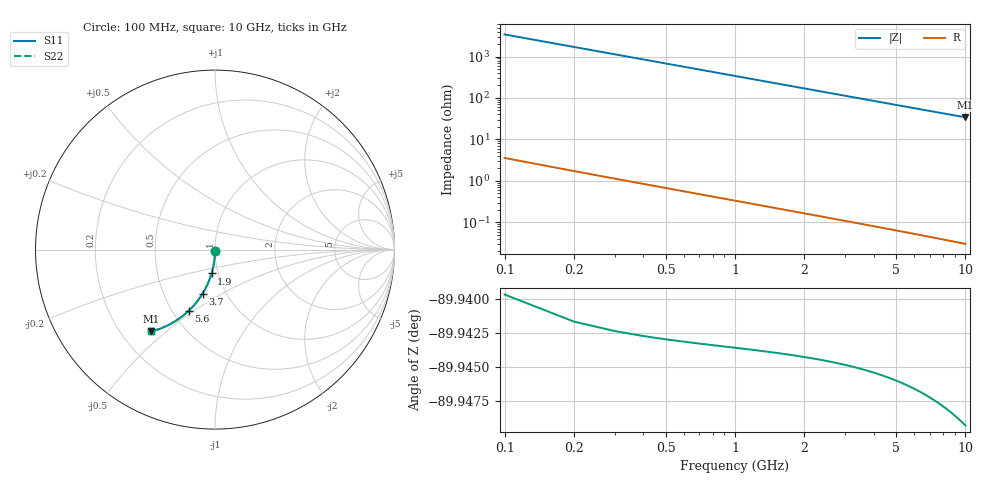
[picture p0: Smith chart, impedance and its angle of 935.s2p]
# Hz S RI R 50.00
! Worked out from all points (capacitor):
!   100 points, 100 MHz to 10 GHz, reference 50 ohm
!   read as one part in shunt: C = 468 fF near 100 MHz
!   lowest |Z| = 34.2 ohm at 10 GHz (marker M1)
!   S11 on the Smith chart (normalised r, x): 100 MHz: 1.00, -0.01; 1.9 GHz: 0.93, -0.25; 3.7 GHz: 0.78, -0.41; 5.6 GHz: 0.60, -0.48; 10 GHz: 0.33, -0.45
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1e8  9.43e-05 -0.00713  0.9998 -0.00758  0.9998 -0.00758  9.43e-05 -0.00713
2e8  -7.4e-05 -0.0143  0.9996 -0.0152  0.9996 -0.0152  -7.4e-05 -0.0143
3e8  -0.000351 -0.0214  0.9993 -0.0227  0.9993 -0.0227  -0.000351 -0.0214
4e8  -0.000735 -0.0285  0.9989 -0.0303  0.9989 -0.0303  -0.000735 -0.0285
5e8  -0.00123 -0.0356  0.9985 -0.0378  0.9985 -0.0378  -0.00123 -0.0356
6e8  -0.00183 -0.0427  0.9979 -0.0454  0.9979 -0.0454  -0.00183 -0.0427
8e8  -0.00335 -0.0569  0.9963 -0.0604  0.9963 -0.0604  -0.00335 -0.0569
9e8  -0.00426 -0.0639  0.9954 -0.0679  0.9954 -0.0679  -0.00426 -0.0639
1.1e9  -0.00642 -0.0779  0.9932 -0.0828  0.9932 -0.0828  -0.00642 -0.0779
1.4e9  -0.0104 -0.0988  0.9892 -0.105  0.9892 -0.105  -0.0104 -0.0988
1.8e9  -0.0172 -0.1261  0.9825 -0.1342  0.9825 -0.1342  -0.0172 -0.1261
1.9e9  -0.0191 -0.1329  0.9805 -0.1414  0.9805 -0.1414  -0.0191 -0.1329
2.2e9  -0.0255 -0.1528  0.9741 -0.1627  0.9741 -0.1627  -0.0255 -0.1528
2.6e9  -0.0353 -0.1788  0.9643 -0.1904  0.9643 -0.1904  -0.0353 -0.1788
3.4e9  -0.059 -0.2279  0.9405 -0.2432  0.9405 -0.2432  -0.059 -0.2279
3.7e9  -0.0692 -0.2453  0.9304 -0.2619  0.9304 -0.2619  -0.0692 -0.2453
4.4e9  -0.0952 -0.2834  0.9043 -0.3032  0.9043 -0.3032  -0.0952 -0.2834
5.1e9  -0.1239 -0.3179  0.8755 -0.3408  0.8755 -0.3408  -0.1239 -0.3179
5.6e9  -0.1458 -0.3402  0.8535 -0.3653  0.8535 -0.3653  -0.1458 -0.3402
6.7e9  -0.1967 -0.3822  0.8025 -0.4124  0.8025 -0.4124  -0.1967 -0.3822
8.4e9  -0.2787 -0.4292  0.7202 -0.467  0.7202 -0.467  -0.2787 -0.4292
1e10  -0.3547 -0.4555  0.6439 -0.5007  0.6439 -0.5007  -0.3547 -0.4555
